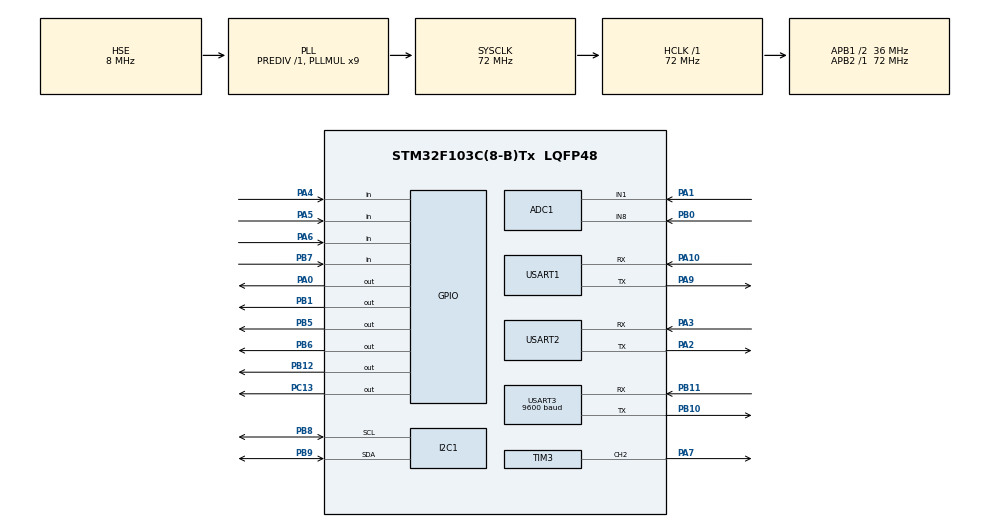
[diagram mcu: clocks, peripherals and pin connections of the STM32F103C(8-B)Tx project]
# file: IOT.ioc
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ADC1.Channel-0\#ChannelRegularConversion=ADC_CHANNEL_8
ADC1.NbrOfConversionFlag=1
ADC1.Rank-0\#ChannelRegularConversion=1
ADC1.SamplingTime-0\#ChannelRegularConversion=ADC_SAMPLETIME_1CYCLE_5
ADC1.master=1
Mcu.Family=STM32F1
Mcu.Name=STM32F103C(8-B)Tx
Mcu.Package=LQFP48
NVIC.PriorityGroup=NVIC_PRIORITYGROUP_4
NVIC.TIM1_BRK_IRQn=true\:0\:0\:false\:false\:true\:true\:true\:true
NVIC.TIM1_CC_IRQn=true\:0\:0\:false\:false\:true\:true\:true\:true
NVIC.TIM1_TRG_COM_IRQn=true\:0\:0\:false\:false\:true\:true\:true\:true
NVIC.TIM1_UP_IRQn=true\:0\:0\:false\:false\:true\:true\:true\:true
NVIC.USART1_IRQn=true\:2\:0\:true\:false\:true\:true\:true\:true
NVIC.USART2_IRQn=true\:0\:0\:true\:false\:true\:true\:true\:true
NVIC.USART3_IRQn=true\:1\:0\:true\:false\:true\:true\:true\:true
PA0-WKUP.GPIO_Speed=GPIO_SPEED_FREQ_HIGH
PA0-WKUP.PinState=GPIO_PIN_SET
PA0-WKUP.Signal=GPIO_Output
PA1.Signal=ADCx_IN1
PA10.GPIO_PuPd=GPIO_PULLUP
PA10.Mode=Asynchronous
PA10.Signal=USART1_RX
PA13.Mode=Serial_Wire
PA13.Signal=SYS_JTMS-SWDIO
PA14.Mode=Serial_Wire
PA14.Signal=SYS_JTCK-SWCLK
PA2.Mode=Asynchronous
PA2.Signal=USART2_TX
PA3.Mode=Asynchronous
PA3.Signal=USART2_RX
PA4.GPIO_PuPd=GPIO_PULLUP
PA4.Signal=GPIO_Input
PA5.GPIO_PuPd=GPIO_PULLUP
PA5.Signal=GPIO_Input
PA6.GPIO_PuPd=GPIO_PULLUP
PA6.Signal=GPIO_Input
PA7.Signal=S_TIM3_CH2
PA9.Mode=Asynchronous
PA9.Signal=USART1_TX
PB0.Signal=ADCx_IN8
PB1.Signal=GPIO_Output
PB10.Mode=Asynchronous
PB10.Signal=USART3_TX
PB11.Mode=Asynchronous
PB11.Signal=USART3_RX
PB12.GPIO_Speed=GPIO_SPEED_FREQ_HIGH
PB12.PinState=GPIO_PIN_SET
PB12.Signal=GPIO_Output
PB5.PinState=GPIO_PIN_SET
PB5.Signal=GPIO_Output
PB6.PinState=GPIO_PIN_SET
PB6.Signal=GPIO_Output
PB7.GPIO_PuPd=GPIO_PULLUP
PB7.Signal=GPIO_Input
PB8.Mode=I2C
PB8.Signal=I2C1_SCL
PB9.Mode=I2C
PB9.Signal=I2C1_SDA
PC13-TAMPER-RTC.Signal=GPIO_Output
PD0-OSC_IN.Mode=HSE-External-Oscillator
PD0-OSC_IN.Signal=RCC_OSC_IN
PD1-OSC_OUT.Mode=HSE-External-Oscillator
PD1-OSC_OUT.Signal=RCC_OSC_OUT
ProjectManager.HeapSize=0x800
ProjectManager.StackSize=0x1200
ProjectManager.TargetToolchain=MDK-ARM V5.32
RCC.ADCPresc=RCC_ADCPCLK2_DIV6
RCC.AHBFreq_Value=72000000
RCC.APB1CLKDivider=RCC_HCLK_DIV2
RCC.APB1Freq_Value=36000000
RCC.APB1TimFreq_Value=72000000
RCC.APB2Freq_Value=72000000
RCC.APB2TimFreq_Value=72000000
RCC.HCLKFreq_Value=72000000
RCC.PLLMUL=RCC_PLL_MUL9
RCC.PLLSourceVirtual=RCC_PLLSOURCE_HSE
RCC.SYSCLKFreq_VALUE=72000000
RCC.SYSCLKSource=RCC_SYSCLKSOURCE_PLLCLK
RCC.USBFreq_Value=72000000
SH.ADCx_IN1.0=ADC1_IN1,IN1
SH.ADCx_IN8.0=ADC1_IN8,IN8
SH.S_TIM3_CH2.0=TIM3_CH2,PWM Generation2 CH2
TIM1.Period=1000-1
TIM1.Prescaler=720-1
TIM3.Channel-PWM\ Generation2\ CH2=TIM_CHANNEL_2
TIM3.Period=100-1
TIM3.Prescaler=720-1
USART1.VirtualMode=VM_ASYNC
USART2.VirtualMode=VM_ASYNC
USART3.BaudRate=9600
USART3.VirtualMode=VM_ASYNC
VP_TIM1_VS_ClockSourceINT.Mode=Internal
VP_TIM4_VS_ClockSourceINT.Mode=Internal
board=custom

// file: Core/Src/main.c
#include "app_config.h"
/*
 * MODULE OVERVIEW
 * 文件：main.c
 * 作用：系统主流程、外设初始化、5 秒上报、模式控制、配置加载和掉电保存。
 * 关键流程：
 *   1. HAL/RCC/GPIO/ADC/I2C/USART/TIM 初始化
 *   2. Hardware_Init() 初始化显示、传感器、LED、水泵和 EEPROM 参数
 *   3. Config_Load() 读取 24C02 参数并迁移旧版本
 *   4. 主循环读取传感器、上报 OneNET、处理按键和执行器
 * 注意：
 *   delay_ms() 依赖 TIM4 1 MHz 时基，delay_us 使用 DWT。
 *   sensor_status 只反映可可靠判断的 DHT11 和 CO2 状态。
 */
/* USER CODE BEGIN Header */
/**
  ******************************************************************************
  * @file           : main.c
  * @brief          : Main program body
  ******************************************************************************
  * @attention
  *
  * Copyright (c) 2026 STMicroelectronics.
  * All rights reserved.
  *
  * This software is licensed under terms that can be found in the LICENSE file
  * in the root directory of this software component.
  * If no LICENSE file comes with this software, it is provided AS-IS.
  *
  ******************************************************************************
  */
/* USER CODE END Header */
#include "main.h"
#include "adc.h"
#include "i2c.h"
#include "tim.h"
#include "usart.h"
#include "gpio.h"

/* USER CODE BEGIN Includes */
//网络协议层
#include "onenet.h"

//网络设备
#include "esp8266.h"

//中间件层
#include "mw_config.h"
#include "app_sensors.h"
#include "app_vgus.h"
#include "app_network_startup.h"
#include "app_commands.h"

//硬件驱动
#include "myusart.h"
#include "dht11.h"
#include "TS.h"
#include "usart3.h"
#include "LDR.h"
#include "LED.h"
#include "beep.h"
#include "jdq.h"
#include "fan.h"
#include "oled.h"
#include "Display.h"
#include "Key.h"
#include "delay.h"
#include "bump.h"

//C库
#include <string.h>
#include <stddef.h>

/* USER CODE END Includes */

/* USER CODE BEGIN PD */
#define ONENET_UPLOAD_INTERVAL	5000	// 5s
#define USE_WATCHDOG			1

/* USER CODE END PD */

/* USER CODE BEGIN PV */
Key Keys[4];
float water_vol = 0.0f;
volatile Abnormal abnormal[3] = {NONE};
volatile DisplayScreen CurrentScreen = DISPLAY_NONE; // 当前显示界面

/* USER CODE END PV */

void SystemClock_Config(void);
/* USER CODE BEGIN PFP */
void Hardware_Init(void);
void Watchdog_Init(void);
void Watchdog_Feed(void);

/* USER CODE END PFP */

/* USER CODE BEGIN 0 */

/* 采集与滤波状态由 modules/app/src/app_sensors.c 管理。 */

static VgusResetCause Diagnostics_ResetCause(uint32_t flags)
{
    if (flags & (RCC_CSR_IWDGRSTF | RCC_CSR_WWDGRSTF)) return VGUS_RESET_WATCHDOG;
    if (flags & RCC_CSR_SFTRSTF) return VGUS_RESET_SOFTWARE;
    if (flags & RCC_CSR_LPWRRSTF) return VGUS_RESET_LOW_POWER;
    if (flags & RCC_CSR_PORRSTF) return VGUS_RESET_POWER;
    if (flags & RCC_CSR_PINRSTF) return VGUS_RESET_PIN;
    return VGUS_RESET_UNKNOWN;
}

/* USER CODE END 0 */

int main(void)
{

  /* USER CODE BEGIN 1 */
  Vgus_SetResetCause(Diagnostics_ResetCause(RCC->CSR));
  __HAL_RCC_CLEAR_RESET_FLAGS();
  /* USER CODE END 1 */

  /* MCU Configuration--------------------------------------------------------*/

  /* Reset of all peripherals, Initializes the Flash interface and the Systick. */
  HAL_Init();

  /* Configure the system clock */
  SystemClock_Config();

  /* Initialize all configured peripherals */
  MX_GPIO_Init();
  MX_ADC1_Init();
  MX_I2C1_Init();
  MX_USART1_UART_Init();
  MX_USART2_UART_Init();
  MX_TIM4_Init();
  MX_TIM1_Init();
  MX_USART3_UART_Init();
  MX_TIM3_Init();
  /* USER CODE BEGIN 2 */
	uint32_t last_upload_tick = 0;
	uint32_t last_report_attempt_tick = 0;
	uint32_t last_led_control_tick = 0;
	unsigned char *dataPtr = NULL;
	uint8_t alarm_data_ready = 0U;
	Vgus_UpdateLinkStatus(VGUS_LINK_INITIALIZING, HAL_GetTick());
	AppConfig_Init();
	SensorService_Init();
	Hardware_Init();
	/* USART1 留给 VGUS 串口屏，由屏驱动管理收发。 */
	HAL_UART_Receive_IT(&huart2, (uint8_t *)&received_data, 1);
	USART3_Rx_Start_IT();
	Config_Load();
	HAL_TIM_Base_Start_IT(&htim1);
	HAL_TIM_PWM_Start(&htim3,TIM_CHANNEL_2);
	Mode_Switch();
	Watchdog_Init();
	OLED_Clear();
	CurrentScreen = DISPLAY_NONE;
	Vgus_StartTouch();

  /* USER CODE END 2 */

  /* Infinite loop */
  /* USER CODE BEGIN WHILE */
	while (1)
	{
		Watchdog_Feed();
		Config_Process();

		/* USER CODE END WHILE */

    /* USER CODE BEGIN 3 */

		Key_Func();
        const uint32_t startup_tick = HAL_GetTick();
        const AppNetworkStartupState startup_state = AppNetworkStartup_Poll(startup_tick);
        const uint8_t startup_online = startup_state == APP_STARTUP_ONLINE;
        static const VgusLinkState startup_links[] = {
            [APP_STARTUP_WIFI] = VGUS_LINK_CONNECTING_WIFI,
            [APP_STARTUP_CLOUD] = VGUS_LINK_CONNECTING_CLOUD,
            [APP_STARTUP_OFFLINE] = VGUS_LINK_LOCAL_ONLY
        };
        Vgus_UpdateLinkStatus(startup_online
            ? (OneNet_IsConnected() ? VGUS_LINK_ONLINE : VGUS_LINK_LOCAL_ONLY)
            : startup_links[startup_state], HAL_GetTick());

		if ((AppConfig_Get()->led_mode == MODE_AUTO_PID) &&
		    ((HAL_GetTick() - last_led_control_tick) >= LED_CONTROL_INTERVAL_MS))
		{
			last_led_control_tick = HAL_GetTick();

			if (SensorService_ReadLight() != 0U)
			{
				LED_Update(SensorService_GetData()->light_lux);
			}
		}

        uint32_t now_tick = HAL_GetTick();
        uint8_t periodic_report_due = (uint8_t)((uint32_t)(now_tick - last_upload_tick) >= ONENET_UPLOAD_INTERVAL);
        if (periodic_report_due)
        {
            last_upload_tick = now_tick;
            SensorService_Poll();
            alarm_data_ready = 1U;
        }
        /* 命令先处理，输出业务更新后再上报；事件上报不推迟5秒采集时钟。 */

                if (startup_online) {
                    dataPtr = ESP8266_GetIPD(0);
                    if (dataPtr != NULL) OneNet_RevPro(dataPtr);
                }

				Vgus_ProcessTouch();
				Bump_Control();
				Monitor_Temp();
				LED_Func();
				IS_Normal();
                if (periodic_report_due)
                {
                    Vgus_DisplayEnvironment(SensorService_GetData(), water_vol, now_tick);
                }
                Vgus_UpdateActuators(HAL_GetTick());
                if (alarm_data_ready) {
                    Vgus_UpdateAlarms(HAL_GetTick(), SensorService_GetData(), abnormal);
                }
                if (startup_online && OneNet_IsConnected()) {
                    now_tick = HAL_GetTick();
                    if (periodic_report_due || AppCommands_ReportDue(now_tick, last_report_attempt_tick, OneNet_IsConnected()))
                    {
                        last_report_attempt_tick = now_tick;
                        if (OneNet_SendData() == 0) AppCommands_ReportSent(); /* 现有接口：0成功，1失败。 */
                        ESP8266_Clear();
                    }
                }
				Display_Data();

				delay_ms(10);
  }
  /* USER CODE END 3 */
}

void SystemClock_Config(void)
{
  RCC_OscInitTypeDef RCC_OscInitStruct = {0};
  RCC_ClkInitTypeDef RCC_ClkInitStruct = {0};
  RCC_PeriphCLKInitTypeDef PeriphClkInit = {0};

  /** Initializes the RCC Oscillators according to the specified parameters
  * in the RCC_OscInitTypeDef structure.
  */
  RCC_OscInitStruct.OscillatorType = RCC_OSCILLATORTYPE_HSE;
  RCC_OscInitStruct.HSEState = RCC_HSE_ON;
  RCC_OscInitStruct.HSEPredivValue = RCC_HSE_PREDIV_DIV1;
  RCC_OscInitStruct.HSIState = RCC_HSI_ON;
  RCC_OscInitStruct.PLL.PLLState = RCC_PLL_ON;
  RCC_OscInitStruct.PLL.PLLSource = RCC_PLLSOURCE_HSE;
  RCC_OscInitStruct.PLL.PLLMUL = RCC_PLL_MUL9;
  if (HAL_RCC_OscConfig(&RCC_OscInitStruct) != HAL_OK)
  {
    Error_Handler();
  }

  /** Initializes the CPU, AHB and APB buses clocks
  */
  RCC_ClkInitStruct.ClockType = RCC_CLOCKTYPE_HCLK|RCC_CLOCKTYPE_SYSCLK
                              |RCC_CLOCKTYPE_PCLK1|RCC_CLOCKTYPE_PCLK2;
  RCC_ClkInitStruct.SYSCLKSource = RCC_SYSCLKSOURCE_PLLCLK;
  RCC_ClkInitStruct.AHBCLKDivider = RCC_SYSCLK_DIV1;
  RCC_ClkInitStruct.APB1CLKDivider = RCC_HCLK_DIV2;
  RCC_ClkInitStruct.APB2CLKDivider = RCC_HCLK_DIV1;

  if (HAL_RCC_ClockConfig(&RCC_ClkInitStruct, FLASH_LATENCY_2) != HAL_OK)
  {
    Error_Handler();
  }
  PeriphClkInit.PeriphClockSelection = RCC_PERIPHCLK_ADC;
  PeriphClkInit.AdcClockSelection = RCC_ADCPCLK2_DIV6;
  if (HAL_RCCEx_PeriphCLKConfig(&PeriphClkInit) != HAL_OK)
  {
    Error_Handler();
  }
}

/* USER CODE BEGIN 4 */

/* ============================================================
 * 配置管理模块已抽离到 modules/middleware/src/mw_config.c
 * 原 414-821 行的 12 个 Config_* 函数和 DeviceConfig 结构
 * 现由 mw_config.h 提供接口，逻辑未做任何改动。
 * ============================================================ */

void Hardware_Init(void)
{
	delay_init();
	delay_us_init();
	Beep_Init();
	BUMP_Init();
	LED_Init();
	JDQ_Init();
	FAN_Init();
	OLED_Init();
	uint8_t dht_retry = 0;
	while(DHT11_Init() && dht_retry < 3)
	{
		OLED_ShowString(0,0,"DHT11 Error",16);
		delay_ms(1000);
		dht_retry++;
	}
	if(dht_retry >= 3)
	{
		OLED_ShowString(0,2,"DHT11 FAIL",16);
		delay_ms(500);
	}

		OLED_Clear();
		OLED_ShowString(0,0,"Hardware init OK",16);
		delay_ms(1000);
		OLED_Clear();

}

static volatile uint8_t watchdog_enabled = 0;

void Watchdog_Init(void)
{
#if USE_WATCHDOG
	IWDG->KR = 0xCCCC;
	IWDG->KR = 0x5555;
	IWDG->PR = 6;      // LSI / 256
	IWDG->RLR = 1250;  // about 8s at 40kHz LSI
	while (IWDG->SR) {}
	IWDG->KR = 0xAAAA;
	watchdog_enabled = 1;
#endif
}

void Watchdog_Feed(void)
{
#if USE_WATCHDOG
	if(watchdog_enabled)
	{
		IWDG->KR = 0xAAAA;
	}
#endif
}

/* USER CODE END 4 */

void Error_Handler(void)
{
  __disable_irq();
  while (1)
  {
  }
}
